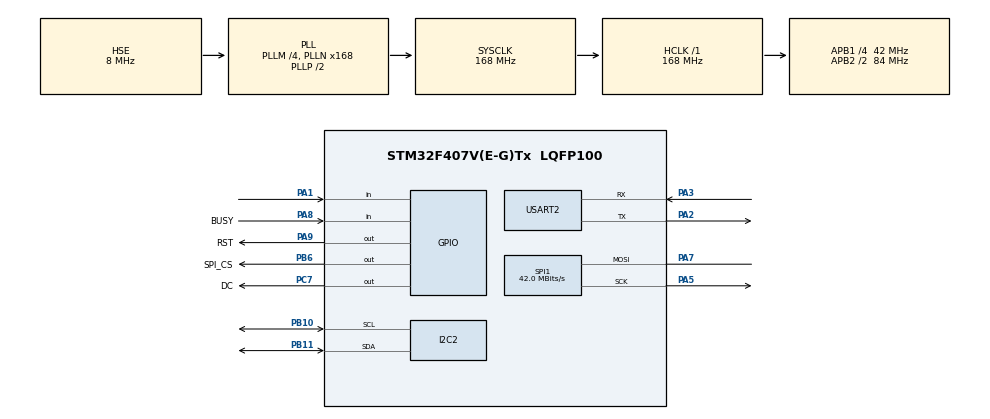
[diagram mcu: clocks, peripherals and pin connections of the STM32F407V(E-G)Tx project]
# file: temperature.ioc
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Mcu.Family=STM32F4
Mcu.Name=STM32F407V(E-G)Tx
Mcu.Package=LQFP100
NVIC.PriorityGroup=NVIC_PRIORITYGROUP_4
PA1.Signal=GPIO_Input
PA13.Mode=Serial_Wire
PA13.Signal=SYS_JTMS-SWDIO
PA14.Mode=Serial_Wire
PA14.Signal=SYS_JTCK-SWCLK
PA2.Mode=Asynchronous
PA2.Signal=USART2_TX
PA3.Mode=Asynchronous
PA3.Signal=USART2_RX
PA5.Mode=Simplex_Bidirectional_Master
PA5.Signal=SPI1_SCK
PA7.Mode=Simplex_Bidirectional_Master
PA7.Signal=SPI1_MOSI
PA8.GPIO_Label=BUSY
PA8.Signal=GPIO_Input
PA9.GPIO_Label=RST
PA9.Signal=GPIO_Output
PB10.Mode=I2C
PB10.Signal=I2C2_SCL
PB11.Mode=I2C
PB11.Signal=I2C2_SDA
PB6.GPIO_Label=SPI_CS
PB6.Signal=GPIO_Output
PC7.GPIO_Label=DC
PC7.Signal=GPIO_Output
PH0-OSC_IN.Mode=HSE-External-Oscillator
PH0-OSC_IN.Signal=RCC_OSC_IN
PH1-OSC_OUT.Mode=HSE-External-Oscillator
PH1-OSC_OUT.Signal=RCC_OSC_OUT
ProjectManager.HeapSize=0x200
ProjectManager.StackSize=0x400
ProjectManager.TargetToolchain=SW4STM32
RCC.48MHZClocksFreq_Value=84000000
RCC.AHBFreq_Value=168000000
RCC.APB1CLKDivider=RCC_HCLK_DIV4
RCC.APB1Freq_Value=42000000
RCC.APB1TimFreq_Value=84000000
RCC.APB2CLKDivider=RCC_HCLK_DIV2
RCC.APB2Freq_Value=84000000
RCC.APB2TimFreq_Value=168000000
RCC.CortexFreq_Value=168000000
RCC.HCLKFreq_Value=168000000
RCC.HSE_VALUE=8000000
RCC.HSI_VALUE=16000000
RCC.LSE_VALUE=32768
RCC.PLLM=4
RCC.PLLN=168
RCC.PLLSourceVirtual=RCC_PLLSOURCE_HSE
RCC.SYSCLKFreq_VALUE=168000000
RCC.SYSCLKSource=RCC_SYSCLKSOURCE_PLLCLK
RCC.VCOOutputFreq_Value=336000000
SPI1.CalculateBaudRate=42.0 MBits/s
SPI1.Direction=SPI_DIRECTION_1LINE
SPI1.Mode=SPI_MODE_MASTER
SPI1.VirtualType=VM_MASTER
USART2.VirtualMode=VM_ASYNC
board=custom

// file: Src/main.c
/**
 ******************************************************************************
 * @file           : main.c
 * @brief          : Main program body
 ******************************************************************************
 ** This notice applies to any and all portions of this file
 * that are not between comment pairs USER CODE BEGIN and
 * USER CODE END. Other portions of this file, whether
 * inserted by the user or by software development tools
 * are owned by their respective copyright owners.
 *
 * COPYRIGHT(c) 2019 STMicroelectronics
 *
 * Redistribution and use in source and binary forms, with or without modification,
 * are permitted provided that the following conditions are met:
 *   1. Redistributions of source code must retain the above copyright notice,
 *      this list of conditions and the following disclaimer.
 *   2. Redistributions in binary form must reproduce the above copyright notice,
 *      this list of conditions and the following disclaimer in the documentation
 *      and/or other materials provided with the distribution.
 *   3. Neither the name of STMicroelectronics nor the names of its contributors
 *      may be used to endorse or promote products derived from this software
 *      without specific prior written permission.
 *
 * THIS SOFTWARE IS PROVIDED BY THE COPYRIGHT HOLDERS AND CONTRIBUTORS "AS IS"
 * AND ANY EXPRESS OR IMPLIED WARRANTIES, INCLUDING, BUT NOT LIMITED TO, THE
 * IMPLIED WARRANTIES OF MERCHANTABILITY AND FITNESS FOR A PARTICULAR PURPOSE ARE
 * DISCLAIMED. IN NO EVENT SHALL THE COPYRIGHT HOLDER OR CONTRIBUTORS BE LIABLE
 * FOR ANY DIRECT, INDIRECT, INCIDENTAL, SPECIAL, EXEMPLARY, OR CONSEQUENTIAL
 * DAMAGES (INCLUDING, BUT NOT LIMITED TO, PROCUREMENT OF SUBSTITUTE GOODS OR
 * SERVICES; LOSS OF USE, DATA, OR PROFITS; OR BUSINESS INTERRUPTION) HOWEVER
 * CAUSED AND ON ANY THEORY OF LIABILITY, WHETHER IN CONTRACT, STRICT LIABILITY,
 * OR TORT (INCLUDING NEGLIGENCE OR OTHERWISE) ARISING IN ANY WAY OUT OF THE USE
 * OF THIS SOFTWARE, EVEN IF ADVISED OF THE POSSIBILITY OF SUCH DAMAGE.
 *
 ******************************************************************************
 */
#include "main.h"
#include "stm32f4xx_hal.h"

/* USER CODE BEGIN Includes */
#include "dwt_stm32_delay.h"
#include "epd1in54.h"
#include "epdif.h"
#include "epdpaint.h"
#include "imagedata.h"
#include <stdlib.h>
#include <string.h>
#include "bmp280.h"
/* USER CODE END Includes */

I2C_HandleTypeDef hi2c2;

SPI_HandleTypeDef hspi1;

UART_HandleTypeDef huart2;

/* USER CODE BEGIN PV */
/* Private variables ---------------------------------------------------------*/
#define COLORED      0
#define UNCOLORED    1
/* USER CODE END PV */

void SystemClock_Config(void);
static void MX_GPIO_Init(void);
static void MX_SPI1_Init(void);
static void MX_USART2_UART_Init(void);
static void MX_I2C2_Init(void);

/* USER CODE BEGIN PFP */
/* Private function prototypes -----------------------------------------------*/

/* USER CODE END PFP */

/* USER CODE BEGIN 0 */

uint8_t Rh_byte1, Rh_byte2, Temp_byte1, Temp_byte2;
uint16_t sum, RH, TEMP, TEMP1;
uint8_t check = 0;
int a, b, c;
GPIO_InitTypeDef GPIO_InitStruct;
float pressure, temperature, humidity;
uint16_t size;
uint8_t Data[256];
BMP280_HandleTypedef bmp280;
void set_gpio_output(void) {
	/*Configure GPIO pin output: PA1 */
	GPIO_InitStruct.Pin = GPIO_PIN_1;
	GPIO_InitStruct.Mode = GPIO_MODE_OUTPUT_PP;
	GPIO_InitStruct.Speed = GPIO_SPEED_FREQ_LOW;
	HAL_GPIO_Init(GPIOA, &GPIO_InitStruct);
}
void set_gpio_input(void) {
	/*Configure GPIO pin input: PA2 */
	GPIO_InitStruct.Pin = GPIO_PIN_1;
	GPIO_InitStruct.Mode = GPIO_MODE_INPUT;
	GPIO_InitStruct.Pull = GPIO_NOPULL;
	HAL_GPIO_Init(GPIOA, &GPIO_InitStruct);
}

void DHT11_start(void) {
	set_gpio_output(); // set the pin as output
	HAL_GPIO_WritePin(GPIOA, GPIO_PIN_1, 0); // pull the pin low
	DWT_Delay_us(18000); // wait for 18ms
	set_gpio_input(); // set as input
}

void check_response(void) {
	DWT_Delay_us(40);
	if (!(HAL_GPIO_ReadPin(GPIOA, GPIO_PIN_1))) {
		DWT_Delay_us(80);
		if ((HAL_GPIO_ReadPin(GPIOA, GPIO_PIN_1)))
			check = 1;
	}
	while ((HAL_GPIO_ReadPin(GPIOA, GPIO_PIN_1)))
		;   // wait for the pin to go low
}

uint8_t read_data(void) {
	uint8_t i, j;
	for (j = 0; j < 8; j++) {
		while (!(HAL_GPIO_ReadPin(GPIOA, GPIO_PIN_1)))
			;   // wait for the pin to go high
		DWT_Delay_us(40);   // wait for 40 us
		if ((HAL_GPIO_ReadPin(GPIOA, GPIO_PIN_1)) == 0)   // if the pin is low
				{
			i &= ~(1 << (7 - j));   // write 0
		} else
			i |= (1 << (7 - j));  // if the pin is high, write 1
		while ((HAL_GPIO_ReadPin(GPIOA, GPIO_PIN_1)))
			;  // wait for the pin to go low
	}
	return i;
}
/* USER CODE END 0 */

int main(void) {
	/* USER CODE BEGIN 1 */
	unsigned char* frame_buffer = (unsigned char*) malloc(
	EPD_WIDTH * EPD_HEIGHT / 8);
	char str[10];
	/* USER CODE END 1 */

	/* MCU Configuration----------------------------------------------------------*/

	/* Reset of all peripherals, Initializes the Flash interface and the Systick. */
	HAL_Init();

	/* Configure the system clock */
	SystemClock_Config();

	/* Initialize all configured peripherals */
	MX_GPIO_Init();
	MX_SPI1_Init();
	MX_USART2_UART_Init();
	MX_I2C2_Init();
	/* USER CODE BEGIN 2 */
	bmp280_init_default_params(&bmp280.params);
	bmp280.addr = BMP280_I2C_ADDRESS_0;
	bmp280.i2c = &hi2c2;
	EPD epd;
	if (EPD_Init(&epd, lut_full_update) != 0) {
		printf("e-Paper init failed\n");
		return -1;
	}

	Paint paint;
	Paint_Init(&paint, frame_buffer, epd.width, epd.height);
	Paint_Clear(&paint, UNCOLORED);

	//expandable code begin
	/* For simplicity, the arguments are explicit numerical coordinates */
	/* Write strings to the buffer */
	Paint_DrawFilledRectangle(&paint, 0, 6, 200, 26, COLORED);
	Paint_DrawStringAt(&paint, 28, 10, "Hello world!", &Font16, UNCOLORED);
	Paint_DrawStringAt(&paint, 30, 30, "e-Paper Demo", &Font16, COLORED);

	/* Draw something to the frame buffer */
	Paint_DrawRectangle(&paint, 10, 60, 50, 110, COLORED);
	Paint_DrawLine(&paint, 10, 60, 50, 110, COLORED);
	Paint_DrawLine(&paint, 50, 60, 10, 110, COLORED);
	Paint_DrawCircle(&paint, 120, 80, 30, COLORED);
	Paint_DrawFilledRectangle(&paint, 10, 130, 50, 180, COLORED);
	Paint_DrawFilledCircle(&paint, 120, 150, 30, COLORED);
	//expandable code end

	/* Display the frame_buffer */
	EPD_SetFrameMemory(&epd, frame_buffer, 0, 0, Paint_GetWidth(&paint),
			Paint_GetHeight(&paint));
	EPD_DisplayFrame(&epd);
	EPD_DelayMs(&epd, 10);

	if (EPD_Init(&epd, lut_partial_update) != 0) {
		printf("e-Paper init failed\n");
		return -1;
	}

	while (!bmp280_init(&bmp280, &bmp280.params)) {
		size = sprintf((char *) Data, "BMP280 initialization failed\n");
		HAL_UART_Transmit(&huart2, Data, size, 1000);
		HAL_Delay(2000);
	}
	/**
	 *  there are 2 memory areas embedded in the e-paper display
	 *  and once the display is refreshed, the memory area will be auto-toggled,
	 *  i.e. the next action of SetFrameMemory will set the other memory area
	 *  therefore you have to set the frame memory and refresh the display twice.
	 */
	EPD_SetFrameMemory(&epd, IMAGE_DATA, 0, 0, epd.width, epd.height);
	EPD_DisplayFrame(&epd);
	EPD_SetFrameMemory(&epd, IMAGE_DATA, 0, 0, epd.width, epd.height);
	EPD_DisplayFrame(&epd);

	DWT_Delay_Init();
	HAL_Delay(1000);
	/* USER CODE END 2 */

	/* Infinite loop */
	while (1) {

		/* USER CODE BEGIN 3 */
		DHT11_start();
		check_response();
		Rh_byte1 = read_data();
		Rh_byte2 = read_data();
		Temp_byte1 = read_data();
		Temp_byte2 = read_data();
		sum = read_data();
		if (sum == (Rh_byte1 + Rh_byte2 + Temp_byte1 + Temp_byte2)) // if the data is correct
				{
			TEMP = Temp_byte1;	// Temperatura
			RH = Rh_byte1;	// Wilgotnosc
			HAL_Delay(1000);
		}

		//GUI
		Paint_SetWidth(&paint, 200);
		Paint_SetHeight(&paint, 200);
		Paint_SetRotate(&paint, ROTATE_180);
		Paint_Clear(&paint, UNCOLORED);
		Paint_DrawRectangle(&paint, 1, 1, 199, 199, COLORED);
		Paint_DrawRectangle(&paint, 2, 2, 198, 198, COLORED);

		//Temperature
		Paint_DrawStringAt(&paint, 5, 5, "Temperatura", &Font24, COLORED);
		a = TEMP;
		Paint_DrawStringAt(&paint, 8, 30, itoa(a, str, 10), &Font24,
		COLORED);
		Paint_DrawStringAt(&paint, 40, 30, "&", &Font24,
		COLORED);
		Paint_DrawStringAt(&paint, 53, 30, "C", &Font24,
		COLORED);
		Paint_DrawRectangle(&paint, 5, 55, 195, 65, COLORED);
		Paint_DrawFilledRectangle(&paint, 5, 55, (((a + 20) / 0.37) + 5), 65,
		COLORED);

		//Cisnienie
		Paint_DrawStringAt(&paint, 5, 70, "Cibnienie", &Font24,
		COLORED);
		b = pressure;
		Paint_DrawStringAt(&paint, 8, 95, itoa(b, str, 10), &Font24,
		COLORED);
		if (b < 1000) {
			Paint_DrawStringAt(&paint, 60, 95, "hPa", &Font24,
			COLORED);
		} else {
			Paint_DrawStringAt(&paint, 80, 95, "hPa", &Font24,
			COLORED);
		}
		Paint_DrawRectangle(&paint, 5, 120, 195, 130, COLORED);
		Paint_DrawFilledRectangle(&paint, 5, 120, (((b - 975) / 0.26) + 5), 130,
		COLORED);

		//Wilgotnosc
		Paint_DrawStringAt(&paint, 5, 135, "Wilgotnobd", &Font24,
		COLORED);
		c = RH;
		Paint_DrawStringAt(&paint, 8, 160, itoa(c, str, 10), &Font24,
		COLORED);
		Paint_DrawStringAt(&paint, 40, 160, "%RH", &Font24,
		COLORED);
		Paint_DrawRectangle(&paint, 5, 185, 195, 195, COLORED);
		Paint_DrawFilledRectangle(&paint, 5, 185, ((c / 0.5) + 5), 195,
		COLORED);

		EPD_SetFrameMemory(&epd, frame_buffer, 0, 0, Paint_GetWidth(&paint),
				Paint_GetHeight(&paint));
		EPD_DisplayFrame(&epd);

		EPD_DelayMs(&epd, 10);

		HAL_Delay(100);
		while (!bmp280_read_float(&bmp280, &temperature, &pressure, &humidity)) {
			size = sprintf((char *) Data,
					"Temperature/pressure reading failed\n");
			HAL_UART_Transmit(&huart2, Data, size, 1000);
			HAL_Delay(2000);
		}
	}
	/* USER CODE END 3 */
}

void SystemClock_Config(void) {

	RCC_OscInitTypeDef RCC_OscInitStruct;
	RCC_ClkInitTypeDef RCC_ClkInitStruct;

	/**Configure the main internal regulator output voltage
	 */
	__HAL_RCC_PWR_CLK_ENABLE()
	;

	__HAL_PWR_VOLTAGESCALING_CONFIG(PWR_REGULATOR_VOLTAGE_SCALE1);

	/**Initializes the CPU, AHB and APB busses clocks
	 */
	RCC_OscInitStruct.OscillatorType = RCC_OSCILLATORTYPE_HSE;
	RCC_OscInitStruct.HSEState = RCC_HSE_ON;
	RCC_OscInitStruct.PLL.PLLState = RCC_PLL_ON;
	RCC_OscInitStruct.PLL.PLLSource = RCC_PLLSOURCE_HSE;
	RCC_OscInitStruct.PLL.PLLM = 4;
	RCC_OscInitStruct.PLL.PLLN = 168;
	RCC_OscInitStruct.PLL.PLLP = RCC_PLLP_DIV2;
	RCC_OscInitStruct.PLL.PLLQ = 4;
	if (HAL_RCC_OscConfig(&RCC_OscInitStruct) != HAL_OK) {
		_Error_Handler(__FILE__, __LINE__);
	}

	/**Initializes the CPU, AHB and APB busses clocks
	 */
	RCC_ClkInitStruct.ClockType = RCC_CLOCKTYPE_HCLK | RCC_CLOCKTYPE_SYSCLK
			| RCC_CLOCKTYPE_PCLK1 | RCC_CLOCKTYPE_PCLK2;
	RCC_ClkInitStruct.SYSCLKSource = RCC_SYSCLKSOURCE_PLLCLK;
	RCC_ClkInitStruct.AHBCLKDivider = RCC_SYSCLK_DIV1;
	RCC_ClkInitStruct.APB1CLKDivider = RCC_HCLK_DIV4;
	RCC_ClkInitStruct.APB2CLKDivider = RCC_HCLK_DIV2;

	if (HAL_RCC_ClockConfig(&RCC_ClkInitStruct, FLASH_LATENCY_5) != HAL_OK) {
		_Error_Handler(__FILE__, __LINE__);
	}

	/**Configure the Systick interrupt time
	 */
	HAL_SYSTICK_Config(HAL_RCC_GetHCLKFreq() / 1000);

	/**Configure the Systick
	 */
	HAL_SYSTICK_CLKSourceConfig(SYSTICK_CLKSOURCE_HCLK);

	/* SysTick_IRQn interrupt configuration */
	HAL_NVIC_SetPriority(SysTick_IRQn, 0, 0);
}

/* I2C2 init function */
static void MX_I2C2_Init(void) {

	hi2c2.Instance = I2C2;
	hi2c2.Init.ClockSpeed = 100000;
	hi2c2.Init.DutyCycle = I2C_DUTYCYCLE_2;
	hi2c2.Init.OwnAddress1 = 0;
	hi2c2.Init.AddressingMode = I2C_ADDRESSINGMODE_7BIT;
	hi2c2.Init.DualAddressMode = I2C_DUALADDRESS_DISABLE;
	hi2c2.Init.OwnAddress2 = 0;
	hi2c2.Init.GeneralCallMode = I2C_GENERALCALL_DISABLE;
	hi2c2.Init.NoStretchMode = I2C_NOSTRETCH_DISABLE;
	if (HAL_I2C_Init(&hi2c2) != HAL_OK) {
		_Error_Handler(__FILE__, __LINE__);
	}

}

/* SPI1 init function */
static void MX_SPI1_Init(void) {

	/* SPI1 parameter configuration*/
	hspi1.Instance = SPI1;
	hspi1.Init.Mode = SPI_MODE_MASTER;
	hspi1.Init.Direction = SPI_DIRECTION_1LINE;
	hspi1.Init.DataSize = SPI_DATASIZE_8BIT;
	hspi1.Init.CLKPolarity = SPI_POLARITY_LOW;
	hspi1.Init.CLKPhase = SPI_PHASE_1EDGE;
	hspi1.Init.NSS = SPI_NSS_SOFT;
	hspi1.Init.BaudRatePrescaler = SPI_BAUDRATEPRESCALER_2;
	hspi1.Init.FirstBit = SPI_FIRSTBIT_MSB;
	hspi1.Init.TIMode = SPI_TIMODE_DISABLE;
	hspi1.Init.CRCCalculation = SPI_CRCCALCULATION_DISABLE;
	hspi1.Init.CRCPolynomial = 10;
	if (HAL_SPI_Init(&hspi1) != HAL_OK) {
		_Error_Handler(__FILE__, __LINE__);
	}

}

/* USART2 init function */
static void MX_USART2_UART_Init(void) {

	huart2.Instance = USART2;
	huart2.Init.BaudRate = 115200;
	huart2.Init.WordLength = UART_WORDLENGTH_8B;
	huart2.Init.StopBits = UART_STOPBITS_1;
	huart2.Init.Parity = UART_PARITY_NONE;
	huart2.Init.Mode = UART_MODE_TX_RX;
	huart2.Init.HwFlowCtl = UART_HWCONTROL_NONE;
	huart2.Init.OverSampling = UART_OVERSAMPLING_16;
	if (HAL_UART_Init(&huart2) != HAL_OK) {
		_Error_Handler(__FILE__, __LINE__);
	}

}

/** Configure pins as
 * Analog
 * Input
 * Output
 * EVENT_OUT
 * EXTI
 */
static void MX_GPIO_Init(void) {

	GPIO_InitTypeDef GPIO_InitStruct;

	/* GPIO Ports Clock Enable */
	__HAL_RCC_GPIOH_CLK_ENABLE()
	;
	__HAL_RCC_GPIOA_CLK_ENABLE()
	;
	__HAL_RCC_GPIOB_CLK_ENABLE()
	;
	__HAL_RCC_GPIOC_CLK_ENABLE()
	;

	/*Configure GPIO pin Output Level */
	HAL_GPIO_WritePin(DC_GPIO_Port, DC_Pin, GPIO_PIN_RESET);

	/*Configure GPIO pin Output Level */
	HAL_GPIO_WritePin(RST_GPIO_Port, RST_Pin, GPIO_PIN_RESET);

	/*Configure GPIO pin Output Level */
	HAL_GPIO_WritePin(SPI_CS_GPIO_Port, SPI_CS_Pin, GPIO_PIN_RESET);

	/*Configure GPIO pins : PA1 BUSY_Pin */
	GPIO_InitStruct.Pin = GPIO_PIN_1 | BUSY_Pin;
	GPIO_InitStruct.Mode = GPIO_MODE_INPUT;
	GPIO_InitStruct.Pull = GPIO_NOPULL;
	HAL_GPIO_Init(GPIOA, &GPIO_InitStruct);

	/*Configure GPIO pin : DC_Pin */
	GPIO_InitStruct.Pin = DC_Pin;
	GPIO_InitStruct.Mode = GPIO_MODE_OUTPUT_PP;
	GPIO_InitStruct.Pull = GPIO_NOPULL;
	GPIO_InitStruct.Speed = GPIO_SPEED_FREQ_LOW;
	HAL_GPIO_Init(DC_GPIO_Port, &GPIO_InitStruct);

	/*Configure GPIO pin : RST_Pin */
	GPIO_InitStruct.Pin = RST_Pin;
	GPIO_InitStruct.Mode = GPIO_MODE_OUTPUT_PP;
	GPIO_InitStruct.Pull = GPIO_NOPULL;
	GPIO_InitStruct.Speed = GPIO_SPEED_FREQ_LOW;
	HAL_GPIO_Init(RST_GPIO_Port, &GPIO_InitStruct);

	/*Configure GPIO pin : SPI_CS_Pin */
	GPIO_InitStruct.Pin = SPI_CS_Pin;
	GPIO_InitStruct.Mode = GPIO_MODE_OUTPUT_PP;
	GPIO_InitStruct.Pull = GPIO_NOPULL;
	GPIO_InitStruct.Speed = GPIO_SPEED_FREQ_LOW;
	HAL_GPIO_Init(SPI_CS_GPIO_Port, &GPIO_InitStruct);

}

void _Error_Handler(char *file, int line) {
	while (1) {
	}
}

/************************ (C) COPYRIGHT STMicroelectronics *****END OF FILE****/
